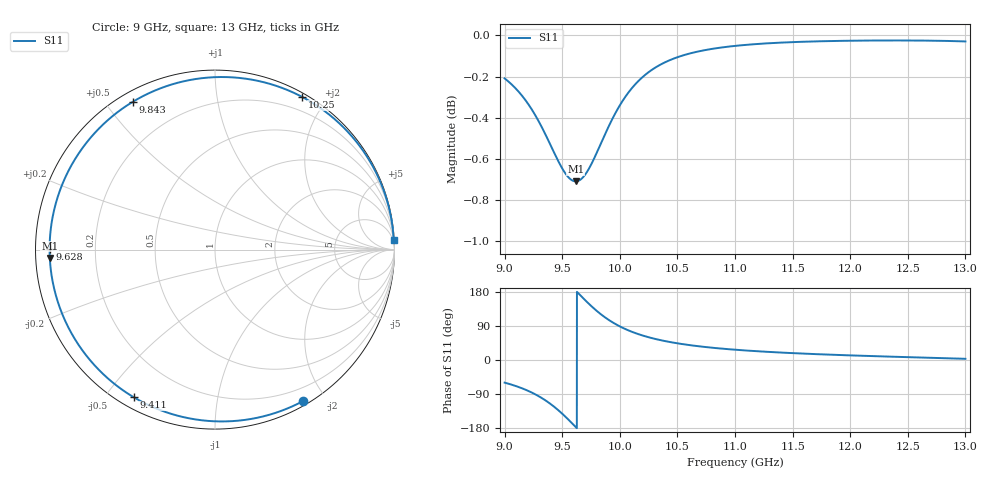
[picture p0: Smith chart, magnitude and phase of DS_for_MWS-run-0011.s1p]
! TOUCHSTONE file generated by CST DESIGN STUDIO
! Date and time: Tue Feb  4 12:45:54 2025
! Project name: C:\Work\MatlabApps\UnitCellOptimizationMatlab\CST\unitcell.cst
! Tree item: Tasks\Sweep1\SPara1\S-Parameters
! Header version: 2024
! Port assignment regex: !\s*Touchstone port\s*([0-9]+)\s*=\s*(CST MWS port|CST DES external port|CST DES block port)\s*(.+)\s* \(\"(.*)\"\)(\s*mode\s*([0-9]+))?.*
! Touchstone port assignment:
! Touchstone port 1 = CST DES external port 1 ("")
# GHz S MA R 50
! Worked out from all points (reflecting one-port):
!   4001 points, 9 GHz to 13 GHz, reference 50 ohm
!   lowest |S11| = -0.7 dB at 9.618 GHz (marker M1), VSWR 24.50, Z = 2.04 - j1.28 ohm
!   phase of S11 starts at -60 deg and turns -297 deg over the sweep
!   S11 on the Smith chart (normalised r, x): 9 GHz: 0.05, -1.74; 9.411 GHz: 0.04, -0.59; 9.628 GHz: 0.04, +0.00; 9.843 GHz: 0.04, +0.59; 10.25 GHz: 0.04, +1.72; 13 GHz: 2, +36
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9  0.9762 -59.7
9.057  0.9732 -64.7
9.13  0.9684 -72.2
9.194  0.9633 -80.0
9.256  0.9574 -89.0
9.339  0.948 -103.5
9.411  0.9389 -118.8
9.456  0.9333 -129.9
9.5  0.9283 -141.7
9.562  0.9232 -159.8
9.618  0.9216 -177.1
9.628  0.9216 179.8
9.673  0.9232 165.8
9.72  0.9269 151.6
9.782  0.9341 134.2
9.843  0.9423 119.0
9.916  0.952 103.4
10  0.9616 88.7
10.118  0.9719 72.9
10.248  0.9795 60.2
10.365  0.9842 51.6
10.5  0.9879 44.0
10.72  0.9916 35.0
11  0.9942 27.1
11.5  0.9963 18.1
12  0.997 12.2
12.5  0.9972 7.5
13  0.9966 3.2
